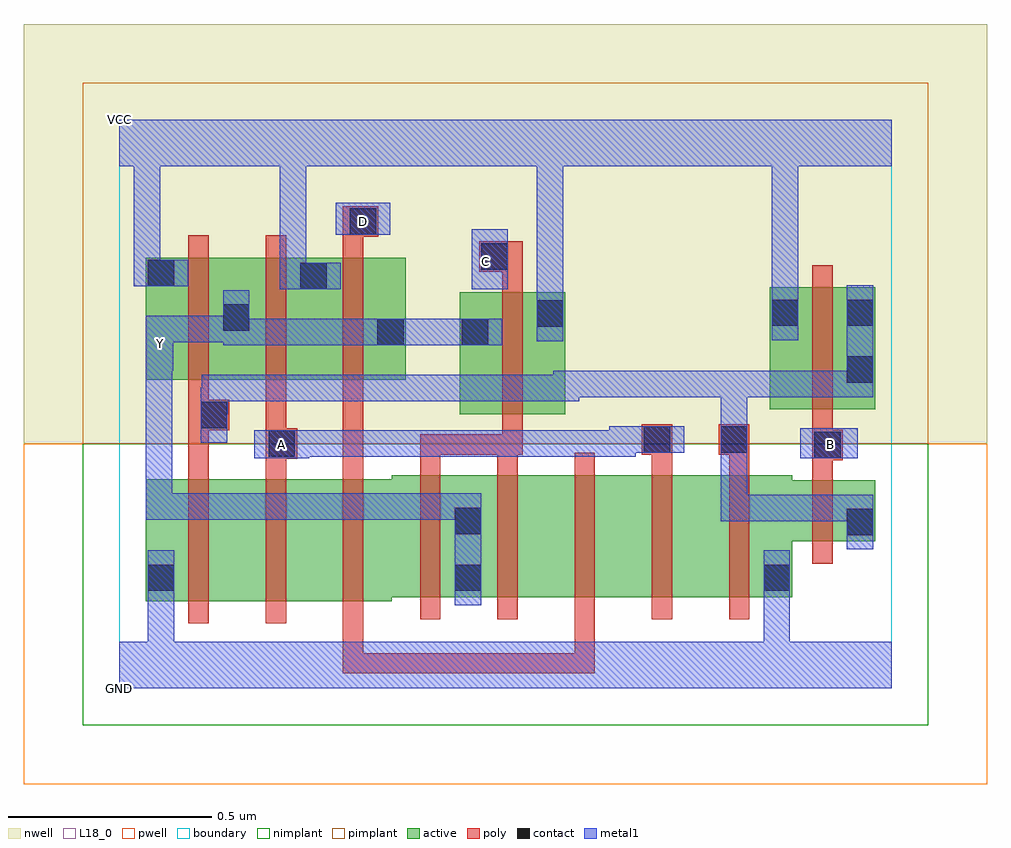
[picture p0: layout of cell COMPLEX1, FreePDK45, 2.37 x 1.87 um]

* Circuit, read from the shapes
.subckt COMPLEX1 A B C D GND VCC Y
M1 n1 n2 GND VSUBS nfet w=0.3u l=0.05u
M2 n3 A n1 VSUBS nfet w=0.3u l=0.05u
M3 n4 D n3 VSUBS nfet w=0.3u l=0.05u
M4 Y C n4 VSUBS nfet w=0.3u l=0.05u
M5 n5 C Y VSUBS nfet w=0.3u l=0.05u
M6 n6 D n5 VSUBS nfet w=0.3u l=0.05u
M7 n7 A n6 VSUBS nfet w=0.3u l=0.05u
M8 GND n2 n7 VSUBS nfet w=0.3u l=0.05u
M9 n2 B GND VSUBS nfet w=0.15u l=0.05u
M10 Y n2 VCC n8 pfet w=0.3u l=0.05u
M11 VCC A Y n8 pfet w=0.3u l=0.05u
M12 Y D VCC n8 pfet w=0.3u l=0.05u
M13 VCC C Y n8 pfet w=0.3u l=0.05u
M14 n2 B VCC n8 pfet w=0.3u l=0.05u
.ends

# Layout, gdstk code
import gdstk
lib = gdstk.Library(unit=1e-6, precision=1e-09)
def R(c, l, rs):  # rectangles x0, y0, x1, y1
    for r in rs: c.add(gdstk.rectangle(r[:2], r[2:], *l))
def A(c, l, x, y, w, h, nx, ny, dx, dy):  # array of equal rectangles
    R(c, l, [(x+i*dx, y+j*dy, x+i*dx+w, y+j*dy+h) for i in range(nx) for j in range(ny)])
active = (1, 0)
pwell = (2, 0)
nwell = (3, 0)
nimplant = (4, 0)
pimplant = (5, 0)
poly = (9, 0)
contact = (10, 0)
metal1 = (11, 0)
L18_0 = (18, 0)
boundary = (235, 0)

complex1 = lib.new_cell('COMPLEX1')
R(complex1, active, [(0.065,0.215,0.29,0.515), (0.29,0.215,0.48,0.515), (0.48,0.215,0.67,0.515), (0.67,0.225,0.895,0.525), (0.82,0.225,1.05,0.525), (1.05,0.225,1.24,0.525), (1.24,0.225,1.43,0.525), (1.43,0.225,1.655,0.525), (1.58,0.225,1.655,0.362), (0.065,0.235,0.14,0.515), (0.82,0.235,0.895,0.517), (1.58,0.362,1.86,0.512), (1.785,0.362,1.86,0.512), (0.837,0.675,1.097,0.975), (0.837,0.675,0.912,0.975), (1.022,0.675,1.097,0.975), (1.6,0.687,1.675,0.962), (1.6,0.687,1.86,0.987), (1.785,0.687,1.86,0.962), (0.065,0.76,0.325,1.06), (0.065,0.76,0.14,1.06), (0.25,0.76,0.325,1.06), (0.25,0.76,0.515,1.06), (0.44,0.76,0.705,1.06), (0.63,0.76,0.705,0.957), (0.44,0.867,0.515,1.052)])
R(complex1, pwell, [(-0.235,-0.235,2.135,0.602)])
R(complex1, nwell, [(-0.235,0.602,2.135,1.635)])
R(complex1, nimplant, [(-0.09,-0.09,1.99,0.602)])
R(complex1, pimplant, [(-0.09,0.602,1.99,1.49)])
A(complex1, poly, 0.17, 0.16, 0.05, 0.41, 3, 2, 0.19, 0.545)
A(complex1, poly, 0.74, 0.17, 0.05, 0.41, 5, 1, 0.19, 0)
R(complex1, poly, [(0.55,0.037,0.6,0.087), (0.55,0.037,0.6,0.087), (0.55,0.037,0.6,0.087), (0.55,0.037,0.802,0.087), (0.55,0.037,0.6,0.21), (0.752,0.037,0.802,0.087), (0.752,0.037,0.802,0.087), (0.752,0.037,0.802,0.087), (0.752,0.037,1,0.087), (0.95,0.037,1,0.087), (0.95,0.037,1.17,0.087), (1.12,0.037,1.17,0.22), (1.12,0.037,1.17,0.087), (1.12,0.037,1.17,0.087), (1.12,0.037,1.17,0.087), (1.705,0.307,1.755,0.567), (1.705,0.517,1.755,0.612), (0.17,0.52,0.22,0.685), (0.36,0.52,0.41,0.615), (0.55,0.52,0.6,0.71), (0.74,0.53,0.79,0.625), (0.93,0.53,0.98,0.625), (1.31,0.53,1.36,0.625), (1.5,0.53,1.55,0.625), (1.705,0.562,1.78,0.637), (0.36,0.565,0.437,0.64), (0.74,0.575,0.79,0.625), (0.74,0.575,0.98,0.625), (0.93,0.575,0.98,0.625), (0.93,0.575,0.98,0.625), (0.93,0.575,0.992,0.625), (0.942,0.575,0.992,0.67), (1.285,0.575,1.36,0.65), (1.475,0.575,1.55,0.65), (1.705,0.587,1.755,0.682), (0.36,0.59,0.41,0.755), (0.942,0.62,0.992,1.03), (1.705,0.632,1.755,1.042), (0.17,0.635,0.27,0.71), (0.17,0.66,0.22,0.755), (0.55,0.66,0.6,0.755), (0.55,0.66,0.6,0.71), (0.942,0.98,0.992,1.075), (0.885,1.025,0.992,1.1), (0.55,1.065,0.6,1.162), (0.55,1.112,0.637,1.187)])
R(complex1, contact, [(0.07,0.24,0.135,0.305), (0.825,0.24,0.89,0.305), (1.585,0.24,1.65,0.305), (1.79,0.377,1.855,0.442), (0.825,0.38,0.89,0.445), (1.71,0.567,1.775,0.632), (0.367,0.57,0.432,0.635), (1.29,0.58,1.355,0.645), (1.48,0.58,1.545,0.645), (0.2,0.64,0.265,0.705), (1.79,0.752,1.855,0.817), (0.635,0.845,0.7,0.91), (0.842,0.845,0.907,0.91), (0.255,0.88,0.32,0.945), (1.027,0.89,1.092,0.955), (1.605,0.892,1.67,0.957), (1.79,0.892,1.855,0.957), (0.445,0.982,0.51,1.047), (0.07,0.99,0.135,1.055), (0.89,1.03,0.955,1.095), (0.567,1.117,0.632,1.182)])
R(complex1, metal1, [(0,0,1.9,0.115), (0.07,0.05,0.135,0.27), (1.585,0.05,1.65,0.115), (1.585,0.05,1.65,0.115), (1.585,0.05,1.65,0.27), (0.07,0.205,0.135,0.27), (0.07,0.205,0.135,0.27), (0.07,0.205,0.135,0.34), (0.825,0.205,0.89,0.48), (1.585,0.205,1.65,0.34), (1.79,0.342,1.855,0.477), (1.48,0.412,1.545,0.477), (1.48,0.412,1.855,0.477), (1.48,0.412,1.545,0.68), (1.79,0.412,1.855,0.477), (1.79,0.412,1.855,0.477), (0.065,0.415,0.13,0.48), (0.065,0.415,0.13,0.48), (0.065,0.415,0.13,0.48), (0.065,0.415,0.322,0.48), (0.065,0.415,0.13,0.847), (0.257,0.415,0.322,0.48), (0.257,0.415,0.46,0.48), (0.395,0.415,0.46,0.48), (0.395,0.415,0.46,0.48), (0.395,0.415,0.46,0.48), (0.395,0.415,0.605,0.48), (0.54,0.415,0.605,0.48), (0.54,0.415,0.605,0.48), (0.54,0.415,0.605,0.48), (0.54,0.415,0.742,0.48), (0.677,0.415,0.742,0.48), (0.677,0.415,0.89,0.48), (1.48,0.545,1.545,0.68), (0.332,0.567,0.467,0.635), (1.675,0.567,1.817,0.64), (0.402,0.57,0.467,0.635), (0.402,0.57,0.467,0.635), (0.402,0.57,0.605,0.635), (0.54,0.57,0.605,0.635), (0.54,0.57,0.605,0.635), (0.54,0.57,0.605,0.635), (0.54,0.57,0.742,0.635), (0.677,0.57,0.742,0.635), (0.677,0.57,0.872,0.635), (0.807,0.57,0.872,0.635), (0.807,0.57,1.017,0.635), (0.952,0.57,1.017,0.635), (0.952,0.57,1.017,0.635), (0.952,0.57,1.017,0.635), (0.952,0.57,1.182,0.635), (1.117,0.57,1.182,0.635), (1.117,0.57,1.27,0.635), (1.205,0.57,1.27,0.645), (1.205,0.58,1.32,0.645), (1.255,0.58,1.39,0.645), (0.2,0.605,0.265,0.74), (1.48,0.615,1.545,0.68), (1.48,0.615,1.545,0.68), (1.48,0.615,1.545,0.782), (0.2,0.675,0.267,0.74), (0.202,0.675,0.267,0.74), (0.202,0.675,0.267,0.772), (0.202,0.707,0.267,0.772), (0.202,0.707,0.46,0.772), (0.395,0.707,0.46,0.772), (0.395,0.707,0.46,0.772), (0.395,0.707,0.46,0.772), (0.395,0.707,0.605,0.772), (0.54,0.707,0.605,0.772), (0.54,0.707,0.605,0.772), (0.54,0.707,0.605,0.772), (0.54,0.707,0.742,0.772), (0.677,0.707,0.742,0.772), (0.677,0.707,0.88,0.772), (0.815,0.707,0.88,0.772), (0.815,0.707,0.88,0.772), (0.815,0.707,0.88,0.772), (0.815,0.707,1.132,0.772), (1.067,0.707,1.132,0.782), (1.067,0.717,1.155,0.782), (1.09,0.717,1.155,0.782), (1.09,0.717,1.27,0.782), (1.205,0.717,1.27,0.782), (1.205,0.717,1.407,0.782), (1.342,0.717,1.407,0.782), (1.342,0.717,1.407,0.782), (1.342,0.717,1.407,0.782), (1.342,0.717,1.545,0.782), (1.48,0.717,1.545,0.782), (1.48,0.717,1.545,0.782), (1.48,0.717,1.545,0.782), (1.48,0.717,1.855,0.782), (1.79,0.717,1.855,0.782), (1.79,0.717,1.855,0.782), (1.79,0.717,1.855,0.992), (0.065,0.782,0.132,0.917), (0.255,0.845,0.32,0.98), (0.255,0.845,0.46,0.91), (0.395,0.845,0.46,0.91), (0.395,0.845,0.46,0.91), (0.395,0.845,0.46,0.91), (0.395,0.845,0.605,0.91), (0.54,0.845,0.605,0.91), (0.54,0.845,0.665,0.91), (0.6,0.845,0.735,0.91), (0.67,0.845,0.742,0.91), (0.677,0.845,0.742,0.91), (0.677,0.845,0.872,0.91), (0.807,0.845,0.942,0.91), (0.065,0.852,0.13,0.917), (0.065,0.852,0.13,0.917), (0.065,0.852,0.13,0.917), (0.065,0.852,0.13,0.917), (0.065,0.852,0.13,0.917), (0.065,0.852,0.13,0.917), (0.065,0.852,0.32,0.917), (1.027,0.855,1.092,0.99), (1.605,0.857,1.67,0.992), (1.027,0.925,1.092,0.99), (1.027,0.925,1.092,0.99), (1.027,0.925,1.092,1.35), (1.605,0.927,1.67,0.992), (1.605,0.927,1.67,0.992), (1.605,0.927,1.67,1.35), (0.395,0.982,0.46,1.047), (0.395,0.982,0.46,1.047), (0.395,0.982,0.46,1.047), (0.395,0.982,0.46,1.047), (0.395,0.982,0.46,1.35), (0.395,0.982,0.545,1.047), (0.867,0.982,0.955,1.13), (0.035,0.99,0.1,1.055), (0.035,0.99,0.1,1.055), (0.035,0.99,0.17,1.055), (0.035,0.99,0.1,1.35), (0.532,1.117,0.667,1.195), (0,1.285,1.9,1.4), (0.035,1.285,0.1,1.35), (0.035,1.285,0.1,1.35), (1.027,1.285,1.092,1.35), (1.027,1.285,1.092,1.35), (1.605,1.285,1.67,1.35), (1.605,1.285,1.67,1.35)])
R(complex1, L18_0, [(0,0,1.9,0.115), (0.07,0.05,0.135,0.27), (1.585,0.05,1.65,0.115), (1.585,0.05,1.65,0.115), (1.585,0.05,1.65,0.27), (0.07,0.205,0.135,0.27), (0.07,0.205,0.135,0.27), (0.07,0.205,0.135,0.34), (0.825,0.205,0.89,0.48), (1.585,0.205,1.65,0.34), (0.065,0.415,0.13,0.48), (0.065,0.415,0.13,0.48), (0.065,0.415,0.13,0.48), (0.065,0.415,0.13,0.847), (0.065,0.415,0.322,0.48), (0.257,0.415,0.322,0.48), (0.257,0.415,0.46,0.48), (0.395,0.415,0.46,0.48), (0.395,0.415,0.46,0.48), (0.395,0.415,0.46,0.48), (0.395,0.415,0.605,0.48), (0.54,0.415,0.605,0.48), (0.54,0.415,0.605,0.48), (0.54,0.415,0.605,0.48), (0.54,0.415,0.742,0.48), (0.677,0.415,0.742,0.48), (0.677,0.415,0.89,0.48), (0.332,0.567,0.467,0.635), (0.367,0.567,0.432,0.632), (1.675,0.567,1.817,0.64), (1.717,0.567,1.782,0.632), (0.402,0.57,0.467,0.635), (0.402,0.57,0.467,0.635), (0.402,0.57,0.605,0.635), (0.54,0.57,0.605,0.635), (0.54,0.57,0.605,0.635), (0.54,0.57,0.605,0.635), (0.54,0.57,0.742,0.635), (0.677,0.57,0.742,0.635), (0.677,0.57,0.872,0.635), (0.807,0.57,0.872,0.635), (0.807,0.57,1.017,0.635), (0.952,0.57,1.017,0.635), (0.952,0.57,1.017,0.635), (0.952,0.57,1.017,0.635), (0.952,0.57,1.182,0.635), (1.117,0.57,1.182,0.635), (1.117,0.57,1.27,0.635), (1.205,0.57,1.27,0.645), (1.205,0.58,1.32,0.645), (1.255,0.58,1.39,0.645), (0.065,0.782,0.132,0.917), (0.067,0.817,0.132,0.882), (0.255,0.845,0.32,0.98), (0.255,0.845,0.46,0.91), (0.395,0.845,0.46,0.91), (0.395,0.845,0.46,0.91), (0.395,0.845,0.46,0.91), (0.395,0.845,0.605,0.91), (0.54,0.845,0.605,0.91), (0.54,0.845,0.665,0.91), (0.6,0.845,0.735,0.91), (0.67,0.845,0.742,0.91), (0.677,0.845,0.742,0.91), (0.677,0.845,0.872,0.91), (0.807,0.845,0.942,0.91), (0.065,0.852,0.13,0.917), (0.065,0.852,0.13,0.917), (0.065,0.852,0.13,0.917), (0.065,0.852,0.13,0.917), (0.065,0.852,0.13,0.917), (0.065,0.852,0.13,0.917), (0.065,0.852,0.32,0.917), (1.027,0.855,1.092,0.99), (1.605,0.857,1.67,0.992), (1.027,0.925,1.092,0.99), (1.027,0.925,1.092,0.99), (1.027,0.925,1.092,1.35), (1.605,0.927,1.67,0.992), (1.605,0.927,1.67,0.992), (1.605,0.927,1.67,1.35), (0.395,0.982,0.46,1.047), (0.395,0.982,0.46,1.047), (0.395,0.982,0.46,1.047), (0.395,0.982,0.46,1.047), (0.395,0.982,0.545,1.047), (0.395,0.982,0.46,1.35), (0.867,0.982,0.955,1.13), (0.035,0.99,0.1,1.055), (0.035,0.99,0.1,1.055), (0.035,0.99,0.17,1.055), (0.035,0.99,0.1,1.35), (0.867,1.017,0.932,1.082), (0.532,1.117,0.667,1.195), (0.567,1.117,0.632,1.182), (0,1.285,1.9,1.4), (0.035,1.285,0.1,1.35), (0.035,1.285,0.1,1.35), (1.027,1.285,1.092,1.35), (1.027,1.285,1.092,1.35), (1.605,1.285,1.67,1.35), (1.605,1.285,1.67,1.35)])
R(complex1, boundary, [(0,0,1.9,1.4)])
complex1.add(gdstk.Label('A', (0.4,0.6), layer=11, texttype=0))
complex1.add(gdstk.Label('B', (1.75,0.6), layer=11, texttype=0))
complex1.add(gdstk.Label('C', (0.9,1.05), layer=11, texttype=0))
complex1.add(gdstk.Label('D', (0.6,1.15), layer=11, texttype=0))
complex1.add(gdstk.Label('Y', (0.1,0.85), layer=11, texttype=0))
complex1.add(gdstk.Label('VCC', (0,1.4), layer=11, texttype=0))
complex1.add(gdstk.Label('GND', (0,0), layer=11, texttype=0))

lib.write_gds('COMPLEX1.gds')
